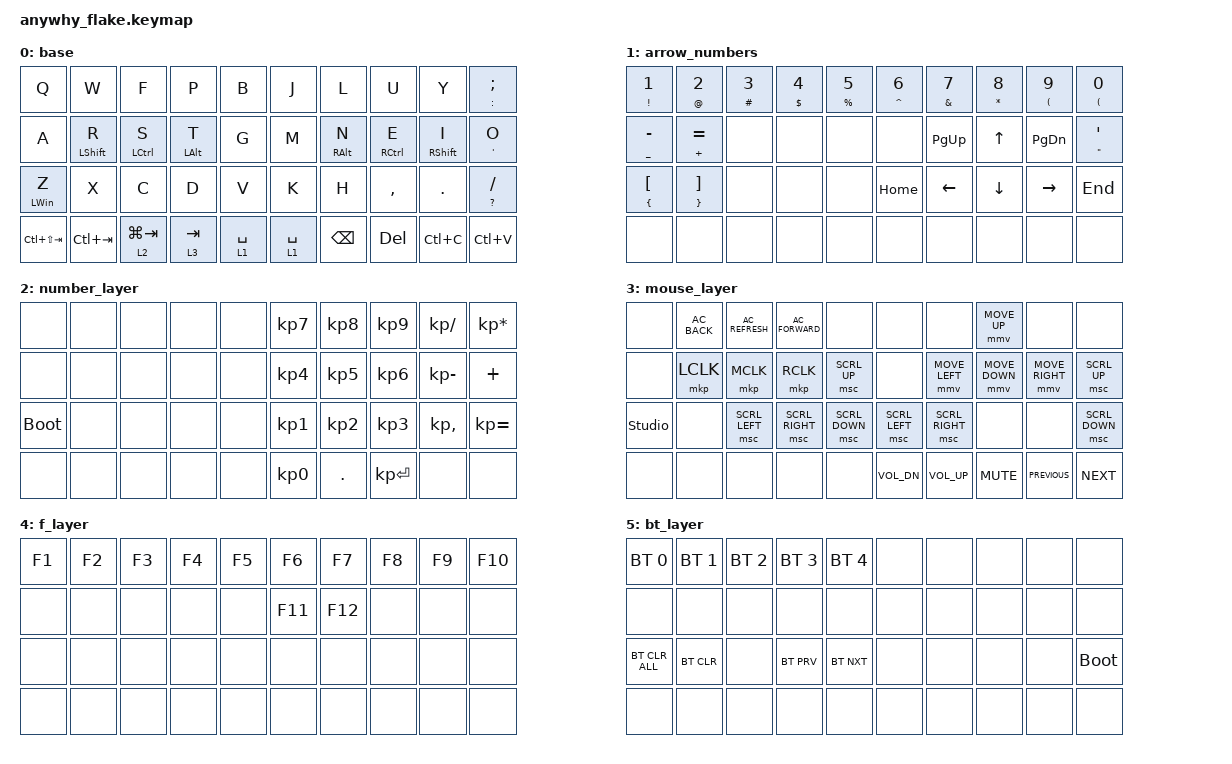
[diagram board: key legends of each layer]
#include <dt-bindings/zmk/mouse.h>
#include <input/processors.dtsi>
#include <behaviors.dtsi>
#include <dt-bindings/zmk/bt.h>
#include <dt-bindings/zmk/keys.h>
#include <dt-bindings/zmk/pointing.h>

/*

   &mmv_input_listener {
       input-processors = <&zip_xy_scaler 2 1>;
   };

   &msc_input_listener {
       input-processors = <&zip_xy_scaler 2 1>;
   };

 */

#define ZMK_MOUSE_DEFAULT_MOVE_VAL 1200  // 600
#define ZMK_MOUSE_DEFAULT_SCRL_VAL 20    // 10

&mt {
    tapping-term-ms = <200>;
    quick-tap-ms = <175>;
    flavor = "balanced";
    hold-trigger-key-positions = <16 17 18 13 12 11 21>;
    hold-trigger-on-release;
};

&mmv {
};

&msc {
};

&lt {
};

/ {
    behaviors {
        mmv {
            acceleration-exponent = <1>;      // 1
            time-to-max-speed-ms = <900>;    // 40
            delay-ms = <0>;                   // 0
        };

        msc {
            acceleration-exponent = <1>;      // 0
            time-to-max-speed-ms = <400>;      // 500
            delay-ms = <0>;                   //   10
        };
    };

    combos {
        compatible = "zmk,combos";

        a {
            bindings = <&mt GRAVE ESCAPE>;
            key-positions = <0 1>;
            layers = <1 0 3>;
        };

        b {
            bindings = <&kp CLCK>;
            key-positions = <10 11 12>;
        };

        d {
            bindings = <&kp DEL>;
            key-positions = <8 9>;
        };

        e {
            bindings = <&kp ENTER>;
            key-positions = <18 17>;
        };

        h {
            bindings = <&sys_reset>;
            key-positions = <1 12 13 24>;
        };

        j {
            bindings = <&sys_reset>;
            key-positions = <17 8 16 25>;
        };

        Backslash_pipe {
            bindings = <&mt PIPE BACKSLASH>;
            key-positions = <29 28>;
        };

        print_screen {
            bindings = <&screenshot>;
            key-positions = <21 22 20>;
        };

        num_layer {
            bindings = <&to 3>;
            key-positions = <6 7 5>;
        };

        bt_layer {
            bindings = <&to 0>;
            key-positions = <4 3 2>;
        };

        default_layer {
            bindings = <&to 0>;
            key-positions = <15 16 17 18>;
        };

        f_layer {
            bindings = <&to 5>;
            key-positions = <14 13 12 11>;
        };

        grave {
            bindings = <&mt LS(GRAVE) GRAVE>;
            key-positions = <0 1>;
            layers = <2>;
        };

        media {
            bindings = <&kp C_PLAY_PAUSE>;
            key-positions = <39 38>;
            layers = <3>;
        };
    };

    macros {
        screenshot: screenshot {
            compatible = "zmk,behavior-macro";
            #binding-cells = <0>;
            bindings =
                <&macro_press>,
                <&kp LS(LEFT_GUI)>,
                <&macro_tap>,
                <&kp S>,
                <&macro_release>,
                <&kp LS(LEFT_GUI)>;

            label = "SCREENSHOT";
        };
    };

    keymap {
        compatible = "zmk,keymap";

        base {
            bindings = <
  &kp Q            &kp W             &kp F          &kp P           &kp B          &kp J        &kp L            &kp U        &kp Y              &mt COLON SEMI
  &kp A            &mt LEFT_SHIFT R  &mt LCTRL S    &mt LEFT_ALT T  &kp G          &kp M        &mt RIGHT_ALT N  &mt RCTRL E  &mt RIGHT_SHIFT I  &mt SQT O
  &mt LEFT_WIN Z   &kp X             &kp C          &kp D           &kp V          &kp K        &kp H            &kp COMMA    &kp DOT            &mt QUESTION SLASH
  &kp LC(LS(TAB))  &kp LC(TAB)       &lt 2 LG(TAB)  &lt 3 TAB       &lt 1 SPACE    &lt 1 SPACE  &kp BACKSPACE    &kp DEL      &kp LC(C)          &kp LC(V)
            >;
        };

        arrow_numbers {
            bindings = <
  &mt EXCLAMATION NUMBER_1     &mt AT_SIGN NUMBER_2           &mt HASH NUMBER_3  &mt DOLLAR NUMBER_4  &mt PERCENT NUMBER_5    &mt CARET NUMBER_6  &mt AMPERSAND NUMBER_7  &mt ASTERISK N8  &mt LEFT_PARENTHESIS N9  &mt LEFT_PARENTHESIS NUMBER_0
  &mt UNDERSCORE MINUS         &mt PLUS EQUAL                 &none              &none                &none                   &none               &kp PAGE_UP             &kp UP_ARROW     &kp PAGE_DOWN            &mt DOUBLE_QUOTES SQT
  &mt LEFT_BRACE LEFT_BRACKET  &mt RIGHT_BRACE RIGHT_BRACKET  &none              &none                &none                   &kp HOME            &kp LEFT_ARROW          &kp DOWN         &kp RIGHT_ARROW          &kp END
  &none                        &none                          &none              &none                &none                   &none               &none                   &none            &none                    &none
            >;
        };

        number_layer {
            bindings = <
  &none        &none  &none  &none  &none    &kp KP_NUMBER_7  &kp KP_NUMBER_8  &kp KP_NUMBER_9  &kp KP_DIVIDE    &kp KP_MULTIPLY
  &none        &none  &none  &none  &none    &kp KP_NUMBER_4  &kp KP_NUMBER_5  &kp KP_NUMBER_6  &kp KP_SUBTRACT  &kp PLUS
  &bootloader  &none  &none  &none  &none    &kp KP_NUMBER_1  &kp KP_NUMBER_2  &kp KP_NUMBER_3  &kp KP_COMMA     &kp KP_EQUAL
  &none        &none  &none  &none  &none    &kp KP_NUMBER_0  &kp PERIOD       &kp KP_ENTER     &none            &none
            >;
        };

        mouse_layer {
            bindings = <
  &none           &kp C_AC_BACK  &kp C_AC_REFRESH  &kp C_AC_FORWARD  &none             &none           &none            &mmv MOVE_UP    &none            &none
  &none           &mkp LCLK      &mkp MCLK         &mkp RCLK         &msc SCRL_UP      &none           &mmv MOVE_LEFT   &mmv MOVE_DOWN  &mmv MOVE_RIGHT  &msc SCRL_UP
  &studio_unlock  &none          &msc SCRL_LEFT    &msc SCRL_RIGHT   &msc SCRL_DOWN    &msc SCRL_LEFT  &msc SCRL_RIGHT  &none           &none            &msc SCRL_DOWN
  &none           &none          &none             &none             &none             &kp C_VOL_DN    &kp C_VOL_UP     &kp K_MUTE      &kp C_PREVIOUS   &kp C_NEXT
            >;
        };

        f_layer {
            bindings = <
  &kp F1  &kp F2  &kp F3  &kp F4  &kp F5    &kp F6   &kp F7   &kp F8  &kp F9  &kp F10
  &none   &none   &none   &none   &none     &kp F11  &kp F12  &none   &none   &none
  &none   &none   &none   &none   &none     &none    &none    &none   &none   &none
  &none   &none   &none   &none   &none     &none    &none    &none   &none   &none
            >;
        };

        bt_layer {
            bindings = <
  &bt BT_SEL 0    &bt BT_SEL 1  &bt BT_SEL 2  &bt BT_SEL 3  &bt BT_SEL 4    &none  &none  &none  &none  &none
  &none           &none         &none         &none         &none           &none  &none  &none  &none  &none
  &bt BT_CLR_ALL  &bt BT_CLR    &none         &bt BT_PRV    &bt BT_NXT      &none  &none  &none  &none  &bootloader
  &none           &none         &none         &none         &none           &none  &none  &none  &none  &none
            >;
        };
    };
};
